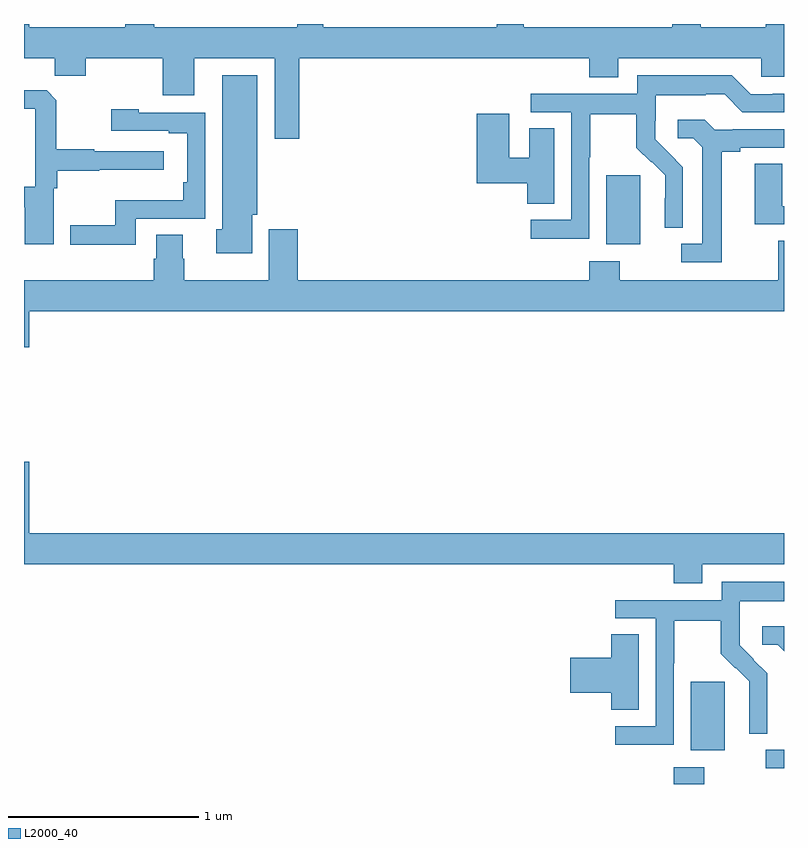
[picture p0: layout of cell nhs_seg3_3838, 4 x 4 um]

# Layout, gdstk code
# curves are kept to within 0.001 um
import gdstk
lib = gdstk.Library(unit=1e-6, precision=1e-09)
def R(c, l, rs):  # rectangles x0, y0, x1, y1
    for r in rs: c.add(gdstk.rectangle(r[:2], r[2:], *l))
def P(c, l, *ps):  # polygons
    for p in ps: c.add(gdstk.Polygon(p, *l))
L2000_40 = (2000, 40)

nhs_seg3_3838 = lib.new_cell('nhs_seg3_3838')
R(nhs_seg3_3838, L2000_40, [(312.419,726.4,312.579,726.487), (312.903,726.483,313,726.579), (312.509,726.578,312.688,726.939), (312.065,729.242,312.244,729.603)])
P(nhs_seg3_3838, L2000_40, [(311.975,730.121),(312.127,730.121),(312.127,730.22),(312.879,730.22),(312.879,730.122),(313,730.122),(313,730.4),(312.905,730.4),(312.905,730.384),(312.561,730.384),(312.561,730.4),(312.413,730.4),(312.413,730.384),(311.629,730.384),(311.629,730.4),(311.489,730.4),(311.489,730.384),(310.575,730.384),(310.575,730.4),(310.437,730.4),(310.437,730.384),(309.685,730.384),(309.685,730.4),(309.533,730.4),(309.533,730.384),(309.028,730.384),(309.028,730.4),(309,730.4),(309,730.22),(309.161,730.22),(309.161,730.127),(309.325,730.127),(309.325,730.22),(309.731,730.22),(309.731,730.026),(309.895,730.026),(309.895,730.22),(310.319,730.22),(310.319,729.795),(310.448,729.795),(310.448,730.22),(311.975,730.22)],
  [(310.201,729.396),(310.228,729.396),(310.228,730.129),(310.043,730.129),(310.043,729.32),(310.013,729.32),(310.013,729.194),(310.201,729.194)],
  [(311.976,729.7),(311.979,729.7),(311.979,729.924),(312.223,729.924),(312.223,729.749),(312.3,729.672),(312.303,729.675),(312.374,729.605),(312.374,729.482),(312.372,729.482),(312.372,729.328),(312.468,729.328),(312.468,729.646),(312.322,729.794),(312.322,729.891),(312.324,729.891),(312.324,730.025),(312.587,730.025),(312.587,730.029),(312.687,730.029),(312.78,729.936),(313,729.936),(313,730.032),(312.941,730.032),(312.941,730.029),(312.825,730.029),(312.725,730.129),(312.228,730.129),(312.228,730.032),(311.667,730.032),(311.667,729.936),(311.88,729.936),(311.88,729.369),(311.667,729.369),(311.667,729.271),(311.976,729.271)],
  [(309.156,729.536),(309.176,729.536),(309.176,729.628),(309.395,729.628),(309.395,729.632),(309.736,729.632),(309.736,729.729),(309.371,729.729),(309.371,729.742),(309.171,729.742),(309.171,729.999),(309.119,730.051),(309,730.051),(309,729.954),(309.06,729.954),(309.06,729.543),(309,729.543),(309,729.435),(309.005,729.435),(309.005,729.24),(309.156,729.24)],
  [(309.588,729.375),(309.954,729.375),(309.954,729.933),(309.603,729.933),(309.603,729.952),(309.459,729.952),(309.459,729.837),(309.761,729.837),(309.761,729.825),(309.858,729.825),(309.858,729.568),(309.838,729.568),(309.838,729.472),(309.48,729.472),(309.48,729.341),(309.243,729.341),(309.243,729.239),(309.588,729.239)],
  [(311.791,729.851),(311.66,729.851),(311.66,729.697),(311.554,729.697),(311.554,729.928),(311.384,729.928),(311.384,729.563),(311.648,729.563),(311.648,729.454),(311.791,729.454)],
  [(312.673,729.728),(312.769,729.728),(312.769,729.75),(313,729.75),(313,729.846),(312.73,729.846),(312.73,729.843),(312.636,729.843),(312.584,729.895),(312.441,729.895),(312.441,729.798),(312.522,729.798),(312.569,729.751),(312.569,729.243),(312.459,729.243),(312.459,729.147),(312.673,729.147)],
  [(313,729.441),(312.99,729.441),(312.99,729.665),(312.845,729.665),(312.845,729.345),(313,729.345)],
  [(309.028,728.888),(313,728.888),(313,729.26),(312.971,729.26),(312.971,729.052),(312.135,729.052),(312.135,729.151),(311.975,729.151),(311.975,729.052),(310.442,729.052),(310.442,729.319),(310.289,729.319),(310.289,729.052),(309.843,729.052),(309.843,729.165),(309.835,729.165),(309.835,729.29),(309.695,729.29),(309.695,729.165),(309.683,729.165),(309.683,729.052),(309,729.052),(309,728.7),(309.028,728.7)],
  [(312.571,727.556),(313,727.556),(313,727.72),(309.028,727.72),(309.028,728.095),(309,728.095),(309,727.556),(312.419,727.556),(312.419,727.457),(312.571,727.457)],
  [(312.42,727.036),(312.423,727.036),(312.423,727.26),(312.667,727.26),(312.667,727.085),(312.744,727.008),(312.747,727.011),(312.818,726.941),(312.818,726.818),(312.816,726.818),(312.816,726.664),(312.912,726.664),(312.912,726.982),(312.766,727.13),(312.766,727.227),(312.768,727.227),(312.768,727.361),(313,727.361),(313,727.465),(312.672,727.465),(312.672,727.368),(312.111,727.368),(312.111,727.272),(312.324,727.272),(312.324,726.705),(312.111,726.705),(312.111,726.607),(312.42,726.607)],
  [(313,727.231),(312.885,727.231),(312.885,727.134),(312.966,727.134),(313,727.1)],
  [(312.235,727.187),(312.092,727.187),(312.092,727.064),(311.874,727.064),(311.874,726.881),(312.092,726.881),(312.092,726.79),(312.235,726.79)])

lib.write_gds('nhs_seg3_3838.gds')
